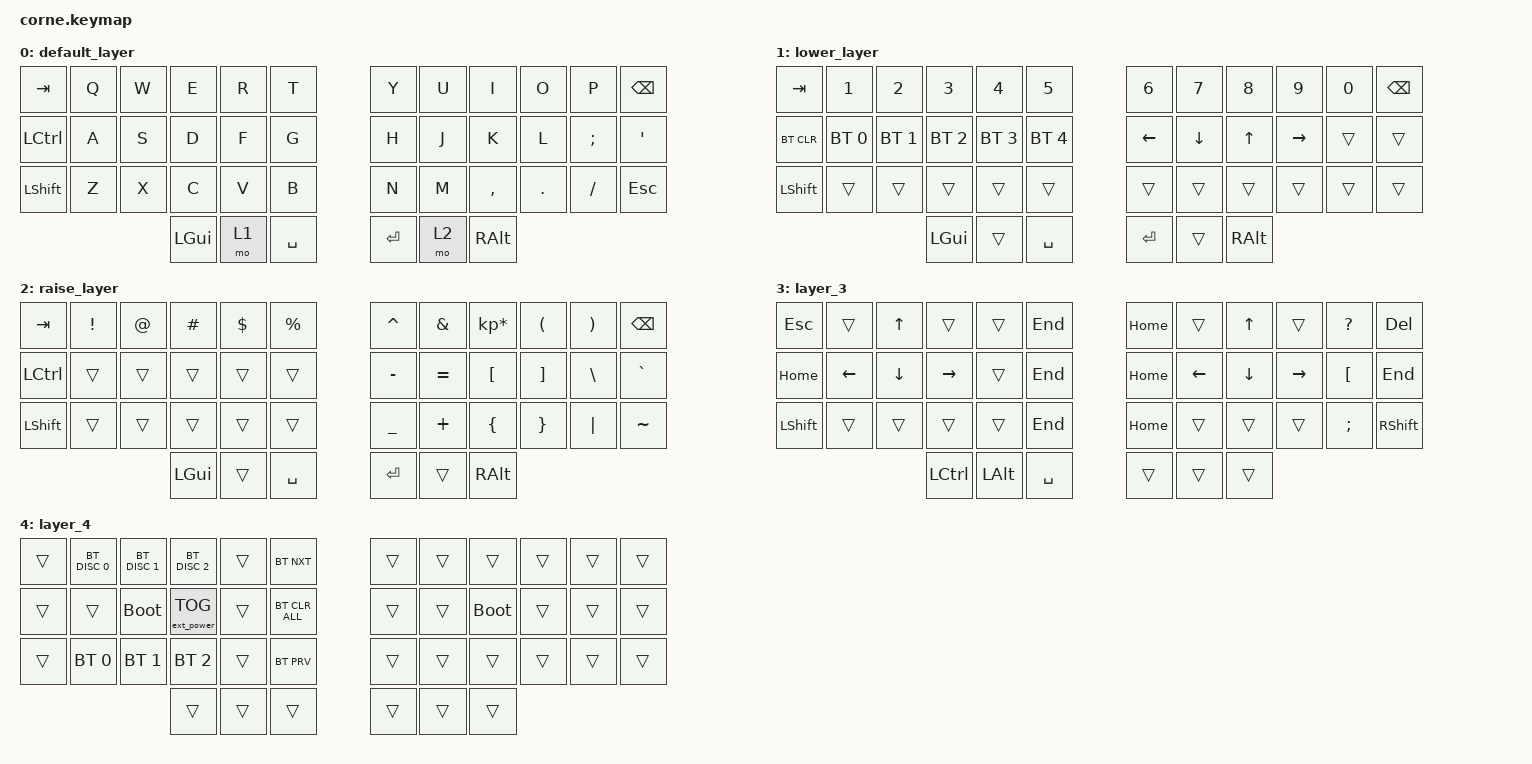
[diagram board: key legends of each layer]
/*
 * Copyright (c) 2020 The ZMK Contributors
 *
 * SPDX-License-Identifier: MIT
 */

#include <behaviors.dtsi>
#include <dt-bindings/zmk/bt.h>
#include <dt-bindings/zmk/ext_power.h>
#include <dt-bindings/zmk/keys.h>
#include <dt-bindings/zmk/outputs.h>

/ {
    behaviors {
        hm: homerow_mods {
            compatible = "zmk,behavior-hold-tap";
            label = "HOMEROW_MODS";
            #binding-cells = <2>;
            tapping-term-ms = <200>;
            quick_tap_ms = <0>;
            flavor = "tap-preferred";
            bindings = <&kp>, <&kp>;

            quick-tap-ms = <180>;
            global-quick-tap;
        };

        ltq: ltq {
            compatible = "zmk,behavior-hold-tap";
            label = "LTQ";
            bindings = <&mo>, <&kp>;

            #binding-cells = <2>;
            tapping-term-ms = <600>;
            global-quick-tap;
            quick-tap-ms = <400>;
        };
    };

    combos {
        compatible = "zmk,combos";

        left_bkt {
            bindings = <&kp LEFT_PARENTHESIS>;
            key-positions = <4 5>;
            timeout-ms = <50>;
        };

        right_bkt {
            bindings = <&kp RIGHT_PARENTHESIS>;
            key-positions = <7 6>;
            timeout-ms = <50>;
        };

        left_par {
            bindings = <&kp LEFT_BRACE>;
            key-positions = <3 4>;
            timeout-ms = <50>;
        };

        right_par {
            bindings = <&kp RIGHT_BRACE>;
            key-positions = <7 8>;
            timeout-ms = <50>;
        };

        bac {
            bindings = <&kp BACKSLASH>;
            key-positions = <5 6>;
        };

        pipe {
            bindings = <&kp PIPE>;
            key-positions = <17 18>;
        };

        slash {
            bindings = <&kp SLASH>;
            key-positions = <29 30>;
        };

        comillas {
            bindings = <&kp SQT>;
            key-positions = <29 28>;
        };

        comillaDoble {
            bindings = <&kp DOUBLE_QUOTES>;
            key-positions = <16 17>;
        };

        out {
            bindings = <&out OUT_TOG>;
            key-positions = <0 4>;
        };

        power {
            bindings = <&ext_power EP_TOG>;
            key-positions = <5 0>;
        };

        home {
            bindings = <&kp HOME>;
            key-positions = <3 4 5>;
        };

        end {
            bindings = <&kp END>;
            key-positions = <27 28 29>;
        };
    };

    keymap {
        compatible = "zmk,keymap";

        default_layer {
            bindings = <
&kp ESC    &kp Q  &kp W  &kp E             &kp R             &kp T           &kp Y            &kp U         &kp I            &kp O    &kp P             &kp BSPC
&kp TAB    &kp A  &kp S  &kp D             &hm LEFT_SHIFT F  &hm LEFT_WIN G  &hm RIGHT_WIN H  &hm RSHIFT J  &hm RCTRL K      &kp L    &kp LEFT_BRACKET  &kp SEMICOLON
&kp LSHFT  &kp Z  &kp X  &kp C             &kp V             &lt 3 B         &kp N            &kp M         &kp COMMA        &kp DOT  &kp FSLH          &kp RIGHT_SHIFT
                         &kp LEFT_CONTROL  &kp LEFT_ALT      &lt 1 SPACE     &lt 1 ENTER      &mo 3         &lt 2 BACKSPACE
            >;
        };

        lower_layer {
            bindings = <
&kp TAB     &kp N1           &kp N2       &kp N3            &kp N4        &kp N5       &kp N6        &kp N7         &kp N8             &kp N9                &kp N0                 &kp BSPC
&kp TAB     &kp EXCLAMATION  &kp AT_SIGN  &kp HASH          &kp DOLLAR    &kp PERCENT  &kp ASTERISK  &kp AMPERSAND  &kp QUESTION       &kp LEFT_PARENTHESIS  &kp RIGHT_PARENTHESIS  &mo 2
&kp LSHIFT  &trans           &trans       &kp SQT           &kp PLUS      &kp MINUS    &kp ASTERISK  &kp EQUAL      &kp COMMA          &kp PERIOD            &kp QUESTION           &kp RIGHT_SHIFT
                                          &kp LEFT_CONTROL  &kp LEFT_WIN  &kp SPACE    &kp ENTER     &kp RIGHT_ALT  &kp RIGHT_CONTROL
            >;
        };

        raise_layer {
            bindings = <
&trans        &kp F1      &kp F2           &kp F3           &kp F4           &kp F5   &kp F6   &kp F7  &kp F8  &kp F9  &kp F10           &kp DEL
&kp CAPSLOCK  &trans      &kp KP_NUMBER_4  &kp KP_NUMBER_5  &kp KP_NUMBER_6  &kp F11  &kp F12  &trans  &trans  &trans  &kp LEFT_BRACKET  &kp RBKT
&trans        &kp DELETE  &kp KP_NUMBER_1  &kp KP_NUMBER_2  &kp KP_NUMBER_3  &kp DOT  &trans   &trans  &trans  &trans  &trans            &trans
                                           &trans           &trans           &mo 4    &mo 4    &trans  &trans
            >;
        };

        layer_3 {
            bindings = <
&kp ESCAPE      &trans          &kp UP_ARROW    &trans            &trans        &kp END    &kp HOME  &trans          &kp UP_ARROW    &trans           &kp QUESTION      &kp DELETE
&kp HOME        &kp LEFT_ARROW  &kp DOWN_ARROW  &kp RIGHT_ARROW   &trans        &kp END    &kp HOME  &kp LEFT_ARROW  &kp DOWN_ARROW  &kp RIGHT_ARROW  &kp LEFT_BRACKET  &kp END
&kp LEFT_SHIFT  &trans          &trans          &trans            &trans        &kp END    &kp HOME  &trans          &trans          &trans           &kp SEMICOLON     &kp RIGHT_SHIFT
                                                &kp LEFT_CONTROL  &kp LEFT_ALT  &kp SPACE  &trans    &trans          &trans
            >;
        };

        layer_4 {
            bindings = <
&trans  &bt BT_DISC 0  &bt BT_DISC 1  &bt BT_DISC 2      &trans  &bt BT_NXT      &trans  &trans  &trans       &trans  &trans  &trans
&trans  &trans         &bootloader    &ext_power EP_TOG  &trans  &bt BT_CLR_ALL  &trans  &trans  &bootloader  &trans  &trans  &trans
&trans  &bt BT_SEL 0   &bt BT_SEL 1   &bt BT_SEL 2       &trans  &bt BT_PRV      &trans  &trans  &trans       &trans  &trans  &trans
                                      &trans             &trans  &trans          &trans  &trans  &trans
            >;
        };
    };
};/*
 * Copyright (c) 2020 The ZMK Contributors
 *
 * SPDX-License-Identifier: MIT
 */

#include <behaviors.dtsi>
#include <dt-bindings/zmk/keys.h>
#include <dt-bindings/zmk/bt.h>

/ {
        keymap {
                compatible = "zmk,keymap";

                default_layer {
// -----------------------------------------------------------------------------------------
// |  TAB |  Q  |  W  |  E  |  R  |  T  |   |  Y  |  U   |  I  |  O  |  P  | BKSP |
// | CTRL |  A  |  S  |  D  |  F  |  G  |   |  H  |  J   |  K  |  L  |  ;  |  '   |
// | SHFT |  Z  |  X  |  C  |  V  |  B  |   |  N  |  M   |  ,  |  .  |  /  | ESC  |
//                    | GUI | LWR | SPC |   | ENT | RSE  | ALT |
                        bindings = <
   &kp TAB   &kp Q &kp W &kp E &kp R &kp T   &kp Y &kp U  &kp I     &kp O   &kp P    &kp BSPC
   &kp LCTRL &kp A &kp S &kp D &kp F &kp G   &kp H &kp J  &kp K     &kp L   &kp SEMI &kp SQT
   &kp LSHFT &kp Z &kp X &kp C &kp V &kp B   &kp N &kp M  &kp COMMA &kp DOT &kp FSLH &kp ESC
                  &kp LGUI &mo 1 &kp SPACE   &kp RET &mo 2 &kp RALT
                        >;
                };
                lower_layer {
// -----------------------------------------------------------------------------------------
// |  TAB |  1  |  2  |  3  |  4  |  5  |   |  6  |  7  |  8  |  9  |  0  | BKSP |
// | BTCLR| BT1 | BT2 | BT3 | BT4 | BT5 |   | LFT | DWN |  UP | RGT |     |      |
// | SHFT |     |     |     |     |     |   |     |     |     |     |     |      |
//                    | GUI |     | SPC |   | ENT |     | ALT |
                        bindings = <
   &kp TAB    &kp N1       &kp N2       &kp N3       &kp N4       &kp N5         &kp N6   &kp N7   &kp N8 &kp N9    &kp N0 &kp BSPC
   &bt BT_CLR &bt BT_SEL 0 &bt BT_SEL 1 &bt BT_SEL 2 &bt BT_SEL 3 &bt BT_SEL 4   &kp LEFT &kp DOWN &kp UP &kp RIGHT &trans &trans
   &kp LSHFT  &trans       &trans       &trans       &trans       &trans         &trans   &trans   &trans &trans    &trans &trans
                                    &kp LGUI     &trans       &kp SPACE      &kp RET  &trans   &kp RALT
                        >;
                };

                raise_layer {
// -----------------------------------------------------------------------------------------
// |  TAB |  !  |  @  |  #  |  $  |  %  |   |  ^  |  &  |  *  |  (  |  )  | BKSP |
// | CTRL |     |     |     |     |     |   |  -  |  =  |  [  |  ]  |  \  |  `   |
// | SHFT |     |     |     |     |     |   |  _  |  +  |  {  |  }  | "|" |  ~   |
//                    | GUI |     | SPC |   | ENT |     | ALT |
                        bindings = <
   &kp  TAB  &kp EXCL &kp AT &kp HASH &kp DLLR &kp PRCNT   &kp CARET &kp AMPS  &kp KP_MULTIPLY &kp LPAR &kp RPAR &kp BSPC
   &kp LCTRL &trans   &trans &trans   &trans   &trans      &kp MINUS &kp EQUAL &kp LBKT        &kp RBKT &kp BSLH &kp GRAVE
   &kp LSHFT &trans   &trans &trans   &trans   &trans      &kp UNDER &kp PLUS  &kp LBRC        &kp RBRC &kp PIPE &kp TILDE
                             &kp LGUI &trans   &kp SPACE   &kp RET   &trans    &kp RALT
                        >;
                };
        };
};
